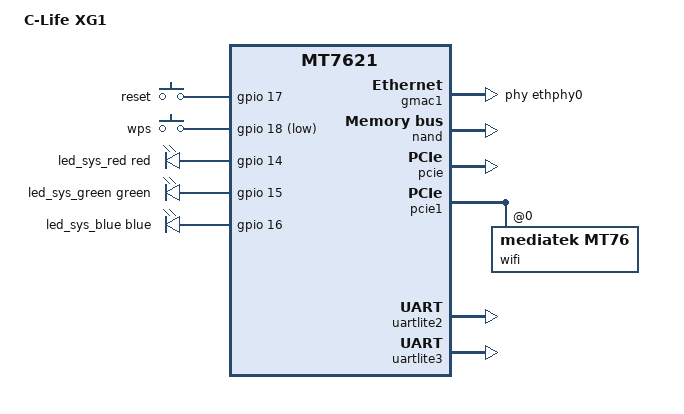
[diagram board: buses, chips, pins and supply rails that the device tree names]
// SPDX-License-Identifier: GPL-2.0-or-later OR MIT

#include "mt7621.dtsi"

#include <dt-bindings/gpio/gpio.h>
#include <dt-bindings/input/input.h>
#include <dt-bindings/leds/common.h>

/ {
	compatible = "c-life,xg1", "mediatek,mt7621-soc";
	model = "C-Life XG1";

	aliases {
		led-boot = &led_sys_red;
		led-failsafe = &led_sys_red;
		led-running = &led_sys_blue;
		led-upgrade = &led_sys_green;
		label-mac-device = &gmac0;
	};

	chosen {
		bootargs = "console=ttyS0,115200";
	};

	gpio-keys {
		compatible = "gpio-keys";

		button-reset {
			label = "reset";
			gpios = <&gpio 17 GPIO_ACTIVE_HIGH>;
			linux,code = <KEY_RESTART>;
		};

		button-wps {
			label = "wps";
			gpios = <&gpio 18 GPIO_ACTIVE_LOW>;
			linux,code = <KEY_WPS_BUTTON>;
		};
	};

	gpio-leds {
		compatible = "gpio-leds";

		led_sys_red: led-0 {
			color = <LED_COLOR_ID_RED>;
			function = LED_FUNCTION_STATUS;
			gpios = <&gpio 14 GPIO_ACTIVE_HIGH>;
		};

		led_sys_green: led-1 {
			color = <LED_COLOR_ID_GREEN>;
			function = LED_FUNCTION_STATUS;
			gpios = <&gpio 15 GPIO_ACTIVE_HIGH>;
		};

		led_sys_blue: led-2 {
			color = <LED_COLOR_ID_BLUE>;
			function = LED_FUNCTION_STATUS;
			gpios = <&gpio 16 GPIO_ACTIVE_HIGH>;
		};
	};
};

&ethphy0 {
	/delete-property/ interrupts;
};

&gmac0 {
	nvmem-cells = <&macaddr_factory_4>;
	nvmem-cell-names = "mac-address";
};

&gmac1 {
	label = "wan";
	nvmem-cells = <&macaddr_factory_a>;
	nvmem-cell-names = "mac-address";
	phy-handle = <&ethphy0>;
	status = "okay";
};

&nand {
	status = "okay";

	partitions {
		compatible = "fixed-partitions";
		#address-cells = <1>;
		#size-cells = <1>;

		partition@0 {
			label = "Bootloader";
			reg = <0x0 0x80000>;
			read-only;
		};

		partition@80000 {
			label = "Config";
			reg = <0x80000 0x40000>;
			read-only;
		};

		partition@c0000 {
			label = "ConfigData";
			reg = <0xc0000 0x40000>;
			read-only;
		};

		partition@100000 {
			label = "Factory";
			reg = <0x100000 0x80000>;
			read-only;

			nvmem-layout {
				compatible = "fixed-layout";
				#address-cells = <1>;
				#size-cells = <1>;

				eeprom_factory_0: eeprom@0 {
					reg = <0x0 0xe00>;
				};

				macaddr_factory_4: macaddr@4 {
					reg = <0x4 0x6>;
				};

				macaddr_factory_a: macaddr@a {
					reg = <0xa 0x6>;
				};
			};
		};

		partition@180000 {
			label = "kernel";
			reg = <0x180000 0x400000>;
		};

		partition@580000 {
			label = "ubi";
			reg = <0x580000 0xf8c0000>;
		};
	};
};

&pcie {
	status = "okay";
};

&pcie1 {
	wifi@0,0 {
		compatible = "mediatek,mt76";
		reg = <0x0000 0 0 0 0>;
		nvmem-cells = <&eeprom_factory_0>;
		nvmem-cell-names = "eeprom";
		mediatek,disable-radar-background;
	};
};

&state_default {
	gpio {
		groups = "jtag", "wdt";
		function = "gpio";
	};
};

&switch0 {
	ports {
		port@1 {
			status = "okay";
			label = "lan1";
		};

		port@2 {
			status = "okay";
			label = "lan2";
		};
	};
};

&uartlite2 {
	/* EFR32BG21 Ble */
	status = "okay";
};

&uartlite3 {
	/* EFR32MG21 Zigbee */
	status = "okay";
};
